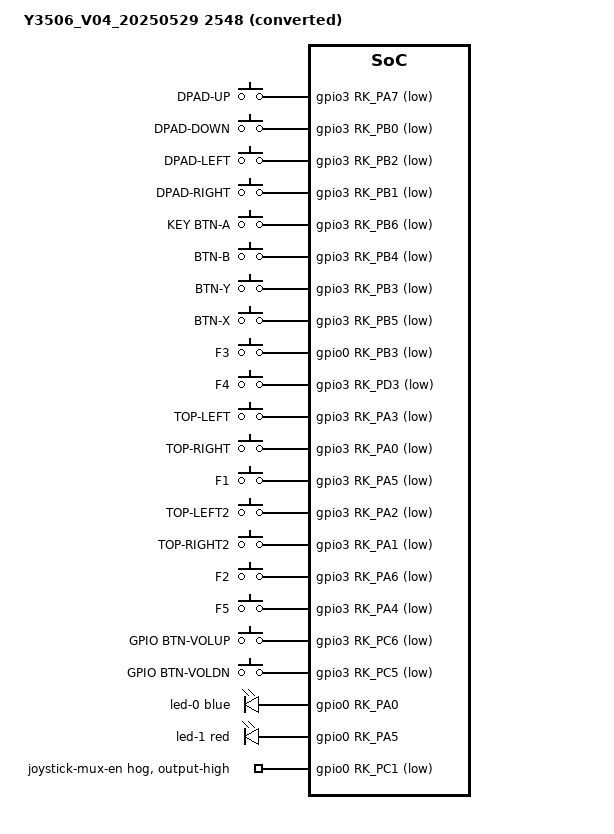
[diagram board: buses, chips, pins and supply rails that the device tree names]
// SPDX-License-Identifier: (GPL-2.0+ OR MIT)
/*
 * Y3506_V04_20250529 2548, converted from a vendor RK3326 device tree by
 * `r36os dtb import` (boot-dtb-select D12). Do not edit: import again.
 * Source: darkosre/files/BOOT/dtb/soysauce/Y3506_V04_20250529 2548/rk3326-r36s-linux.dtb
 * SHA-256: 660ed19ae46c3953b7e1060ea3dd03093fe0c8ab4562a379542dec4d0b981b22
 * Note: speaker gain: source spk-volume 1 ignored, the native safe value is used
 */

#include "rk3326-r36s-v5.dts"

/ {
	model = "Y3506_V04_20250529 2548 (converted)";

	lume-select {
		lume,id = "darkosre-soysauce-y3506-v04-20250529-2548";
		lume,priority = <0>;
		/delete-property/ lume,default;
	};

	/delete-node/ gpio-keys;
	/delete-node/ volume-keys;

	gpio-keys {
		compatible = "gpio-keys";
		pinctrl-names = "default";
		pinctrl-0 = <&btn_pins>;

		button-dpad-up {
			gpios = <&gpio3 RK_PA7 GPIO_ACTIVE_LOW>;
			label = "DPAD-UP";
			linux,code = <0x220>;
		};

		button-dpad-down {
			gpios = <&gpio3 RK_PB0 GPIO_ACTIVE_LOW>;
			label = "DPAD-DOWN";
			linux,code = <0x221>;
		};

		button-dpad-left {
			gpios = <&gpio3 RK_PB2 GPIO_ACTIVE_LOW>;
			label = "DPAD-LEFT";
			linux,code = <0x222>;
		};

		button-dpad-right {
			gpios = <&gpio3 RK_PB1 GPIO_ACTIVE_LOW>;
			label = "DPAD-RIGHT";
			linux,code = <0x223>;
		};

		button-key-btn-a {
			gpios = <&gpio3 RK_PB6 GPIO_ACTIVE_LOW>;
			label = "KEY BTN-A";
			linux,code = <0x131>;
		};

		button-btn-b {
			gpios = <&gpio3 RK_PB4 GPIO_ACTIVE_LOW>;
			label = "BTN-B";
			linux,code = <0x130>;
		};

		button-btn-y {
			gpios = <&gpio3 RK_PB3 GPIO_ACTIVE_LOW>;
			label = "BTN-Y";
			linux,code = <0x134>;
		};

		button-btn-x {
			gpios = <&gpio3 RK_PB5 GPIO_ACTIVE_LOW>;
			label = "BTN-X";
			linux,code = <0x133>;
		};

		button-f3 {
			gpios = <&gpio0 RK_PB3 GPIO_ACTIVE_LOW>;
			label = "F3";
			linux,code = <0x2c2>;
		};

		button-f4 {
			gpios = <&gpio3 RK_PD3 GPIO_ACTIVE_LOW>;
			label = "F4";
			linux,code = <0x2c3>;
		};

		button-top-left {
			gpios = <&gpio3 RK_PA3 GPIO_ACTIVE_LOW>;
			label = "TOP-LEFT";
			linux,code = <0x136>;
		};

		button-top-right {
			gpios = <&gpio3 RK_PA0 GPIO_ACTIVE_LOW>;
			label = "TOP-RIGHT";
			linux,code = <0x137>;
		};

		button-f1 {
			gpios = <&gpio3 RK_PA5 GPIO_ACTIVE_LOW>;
			label = "F1";
			linux,code = <0x2c0>;
		};

		button-top-left2 {
			gpios = <&gpio3 RK_PA2 GPIO_ACTIVE_LOW>;
			label = "TOP-LEFT2";
			linux,code = <0x138>;
		};

		button-top-right2 {
			gpios = <&gpio3 RK_PA1 GPIO_ACTIVE_LOW>;
			label = "TOP-RIGHT2";
			linux,code = <0x139>;
		};

		button-f2 {
			gpios = <&gpio3 RK_PA6 GPIO_ACTIVE_LOW>;
			label = "F2";
			linux,code = <0x2c1>;
		};

		button-f5 {
			gpios = <&gpio3 RK_PA4 GPIO_ACTIVE_LOW>;
			label = "F5";
			linux,code = <0x2c4>;
		};
	};

	volume-keys {
		compatible = "gpio-keys";
		pinctrl-names = "default";
		pinctrl-0 = <&vol_pins>;
		autorepeat;

		button-gpio-btn-volup {
			gpios = <&gpio3 RK_PC6 GPIO_ACTIVE_LOW>;
			label = "GPIO BTN-VOLUP";
			linux,code = <0x73>;
		};

		button-gpio-btn-voldn {
			gpios = <&gpio3 RK_PC5 GPIO_ACTIVE_LOW>;
			label = "GPIO BTN-VOLDN";
			linux,code = <0x72>;
		};
	};

	mux-controller {
		mux-gpios = <&gpio0 RK_PB5 GPIO_ACTIVE_LOW>,
			    <&gpio0 RK_PB4 GPIO_ACTIVE_LOW>;
	};

	adc-mux {
		io-channels = <&saradc 1>;
	};

	/delete-node/ gpio-leds;

	gpio-leds {
		compatible = "gpio-leds";
		pinctrl-names = "default";
		pinctrl-0 = <&led_pins>;

		led-0 {
			color = <LED_COLOR_ID_BLUE>;
			function = LED_FUNCTION_STATUS;
			gpios = <&gpio0 RK_PA0 GPIO_ACTIVE_HIGH>;
		};

		led-1 {
			color = <LED_COLOR_ID_RED>;
			function = LED_FUNCTION_INDICATOR;
			gpios = <&gpio0 RK_PA5 GPIO_ACTIVE_HIGH>;
		};
	};

	rk817-sound {
		simple-audio-card,hp-det-gpios = <&gpio2 RK_PC6 GPIO_ACTIVE_HIGH>;
	};
};

&internal_display {
	compatible = "rocknix,generic-dsi";
	/delete-property/ vcc-supply;
	vdd-supply = <&vcc_lcd>;
	reset-gpios = <&gpio3 RK_PC0 GPIO_ACTIVE_LOW>;
	enable-gpios = <&gpio1 RK_PC2 GPIO_ACTIVE_LOW>;
	panel_description =
		"G size=71,71 delays=100,50,20,200,20 format=rgb888 lanes=4 flags=0xe03",
		"M clock=40000 horizontal=640,46,2,44 vertical=480,16,2,14 default=1",
		"M clock=25500 horizontal=640,188,2,190 vertical=480,13,2,5",
		"M clock=30600 horizontal=640,87,2,87 vertical=480,13,2,5",
		"I seq=ff30",
		"I seq=ff52",
		"I seq=ff01",
		"I seq=e300",
		"I seq=2510",
		"I seq=286f",
		"I seq=2901",
		"I seq=2adf",
		"I seq=2c22",
		"I seq=c30f",
		"I seq=379c",
		"I seq=38a7",
		"I seq=3941",
		"I seq=8020",
		"I seq=9167",
		"I seq=9267",
		"I seq=a055",
		"I seq=a150",
		"I seq=a358",
		"I seq=a49c",
		"I seq=a702",
		"I seq=a801",
		"I seq=a921",
		"I seq=aafc",
		"I seq=ab28",
		"I seq=ac06",
		"I seq=ad06",
		"I seq=ae06",
		"I seq=af03",
		"I seq=b008",
		"I seq=b126",
		"I seq=b228",
		"I seq=b328",
		"I seq=b403",
		"I seq=b508",
		"I seq=b626",
		"I seq=b708",
		"I seq=b826",
		"I seq=c000",
		"I seq=c100",
		"I seq=c200",
		"I seq=ff30 # 2",
		"I seq=ff52 # 2",
		"I seq=ff02",
		"I seq=b002",
		"I seq=d002",
		"I seq=b10f",
		"I seq=d110",
		"I seq=b211",
		"I seq=d212",
		"I seq=b332",
		"I seq=d333",
		"I seq=b436",
		"I seq=d436",
		"I seq=b53c",
		"I seq=d53c",
		"I seq=b620",
		"I seq=d620",
		"I seq=b73e",
		"I seq=d73e",
		"I seq=b80e",
		"I seq=d80d",
		"I seq=b905",
		"I seq=d905",
		"I seq=ba11",
		"I seq=da12",
		"I seq=bb11",
		"I seq=db11",
		"I seq=bc13",
		"I seq=dc14",
		"I seq=bd14",
		"I seq=dd14",
		"I seq=be16",
		"I seq=de18",
		"I seq=bf0e",
		"I seq=df0f",
		"I seq=c017",
		"I seq=e017",
		"I seq=c107",
		"I seq=e108",
		"I seq=ff30 # 3",
		"I seq=ff52 # 3",
		"I seq=ff03",
		"I seq=088a",
		"I seq=098b",
		"I seq=3000",
		"I seq=3100",
		"I seq=3200",
		"I seq=3300",
		"I seq=3461",
		"I seq=35d4",
		"I seq=3624",
		"I seq=3703",
		"I seq=4086",
		"I seq=4187",
		"I seq=4284",
		"I seq=4385",
		"I seq=4411",
		"I seq=45de",
		"I seq=46dd",
		"I seq=4711",
		"I seq=48e0",
		"I seq=49df",
		"I seq=5082",
		"I seq=5183",
		"I seq=5280",
		"I seq=5381",
		"I seq=5411",
		"I seq=55e2",
		"I seq=56e1",
		"I seq=5711",
		"I seq=58e4",
		"I seq=59e3",
		"I seq=820f",
		"I seq=830f",
		"I seq=8400",
		"I seq=850f",
		"I seq=860f",
		"I seq=870e",
		"I seq=880e",
		"I seq=8906",
		"I seq=8a06",
		"I seq=8b07",
		"I seq=8c07",
		"I seq=8d04",
		"I seq=8e04",
		"I seq=8f05",
		"I seq=9005",
		"I seq=980f",
		"I seq=990f",
		"I seq=9a00",
		"I seq=9b0f",
		"I seq=9c0f",
		"I seq=9d0e",
		"I seq=9e0e",
		"I seq=9f06",
		"I seq=a006",
		"I seq=a107",
		"I seq=a207",
		"I seq=a304",
		"I seq=a404",
		"I seq=a505",
		"I seq=a605",
		"I seq=e002",
		"I seq=e152",
		"I seq=ff30 # 4",
		"I seq=ff52 # 4",
		"I seq=ff00",
		"I seq=3602",
		"I seq=1100 wait=c8",
		"I seq=2900 wait=64";
};

&dsi {
	/delete-property/ rockchip,lane-rate;
	/delete-property/ rockchip,phy-hstt;
};

&backlight {
	pwms = <&pwm1 0 40000 0>;
	/delete-property/ num-interpolated-steps;
	brightness-levels = <0 1 2 3 4 5 6 7 8 9 10 11 12 13 14 15 16 17 18 19 20 21 22 23 24 25 26 27 28 29 30 31 32 33 34 35 36 37 38 39 40 41 42 43 44 45 46 47 48 49 50 51 52 53 54 55 56 57 58 59 60 61 62 63 64 65 66 67 68 69 70 71 72 73 74 75 76 77 78 79 80 81 82 83 84 85 86 87 88 89 90 91 92 93 94 95 96 97 98 99 100 101 102 103 104 105 106 107 108 109 110 111 112 113 114 115 116 117 118 119 120 121 122 123 124 125 126 127 128 129 130 131 132 133 134 135 136 137 138 139 140 141 142 143 144 145 146 147 148 149 150 151 152 153 154 155 156 157 158 159 160>;
	default-brightness-level = <80>;
};

&battery {
	charge-full-design-microamp-hours = <3156000>;
	voltage-max-design-microvolt = <4177000>;
	voltage-min-design-microvolt = <3400000>;
	ocv-capacity-table-0 = <4177000 100>,
				<4087000 95>,
				<4005000 90>,
				<3942000 85>,
				<3887000 80>,
				<3838000 75>,
				<3794000 70>,
				<3754000 65>,
				<3719000 60>,
				<3689000 55>,
				<3655000 50>,
				<3628000 45>,
				<3612000 40>,
				<3599000 35>,
				<3586000 30>,
				<3571000 25>,
				<3550000 20>,
				<3521000 15>,
				<3486000 10>,
				<3438000 5>,
				<3400000 0>;
};

&spk_amp {
	enable-gpios = <&gpio3 RK_PC4 GPIO_ACTIVE_HIGH>;
};

&rk817 {
	interrupt-parent = <&gpio0>;
	interrupts = <RK_PA7 IRQ_TYPE_LEVEL_LOW>;
};

&gpio0 {
	/delete-node/ joystick-mux-en-hog;
	joystick-mux-en-hog {
		gpio-hog;
		gpios = <RK_PC1 GPIO_ACTIVE_LOW>;
		output-high;
		line-name = "joystick-mux-en";
	};
};

&gpio1 {
	/delete-node/ lcd-enable-hog;
};

&gpio3 {
	/delete-node/ lcd-stbyb-hog;
};

&btn_pins {
	rockchip,pins =
		<3 RK_PA7 RK_FUNC_GPIO &pcfg_pull_up>,
		<3 RK_PB0 RK_FUNC_GPIO &pcfg_pull_up>,
		<3 RK_PB2 RK_FUNC_GPIO &pcfg_pull_up>,
		<3 RK_PB1 RK_FUNC_GPIO &pcfg_pull_up>,
		<3 RK_PB6 RK_FUNC_GPIO &pcfg_pull_up>,
		<3 RK_PB4 RK_FUNC_GPIO &pcfg_pull_up>,
		<3 RK_PB3 RK_FUNC_GPIO &pcfg_pull_up>,
		<3 RK_PB5 RK_FUNC_GPIO &pcfg_pull_up>,
		<0 RK_PB3 RK_FUNC_GPIO &pcfg_pull_up>,
		<3 RK_PD3 RK_FUNC_GPIO &pcfg_pull_up>,
		<3 RK_PA3 RK_FUNC_GPIO &pcfg_pull_up>,
		<3 RK_PA0 RK_FUNC_GPIO &pcfg_pull_up>,
		<3 RK_PA5 RK_FUNC_GPIO &pcfg_pull_up>,
		<3 RK_PA2 RK_FUNC_GPIO &pcfg_pull_up>,
		<3 RK_PA1 RK_FUNC_GPIO &pcfg_pull_up>,
		<3 RK_PA6 RK_FUNC_GPIO &pcfg_pull_up>,
		<3 RK_PA4 RK_FUNC_GPIO &pcfg_pull_up>;
};

&vol_pins {
	rockchip,pins =
		<3 RK_PC6 RK_FUNC_GPIO &pcfg_pull_up>,
		<3 RK_PC5 RK_FUNC_GPIO &pcfg_pull_up>;
};

&led_pins {
	rockchip,pins =
		<0 RK_PA0 RK_FUNC_GPIO &pcfg_pull_none>,
		<0 RK_PA5 RK_FUNC_GPIO &pcfg_pull_none>;
};

&hp_det {
	rockchip,pins = <2 RK_PC6 RK_FUNC_GPIO &pcfg_pull_none>;
};

&spk_amp_enable_h {
	rockchip,pins = <3 RK_PC4 RK_FUNC_GPIO &pcfg_pull_none>;
};

&pmic_int {
	rockchip,pins = <0 RK_PA7 RK_FUNC_GPIO &pcfg_pull_up>;
};
